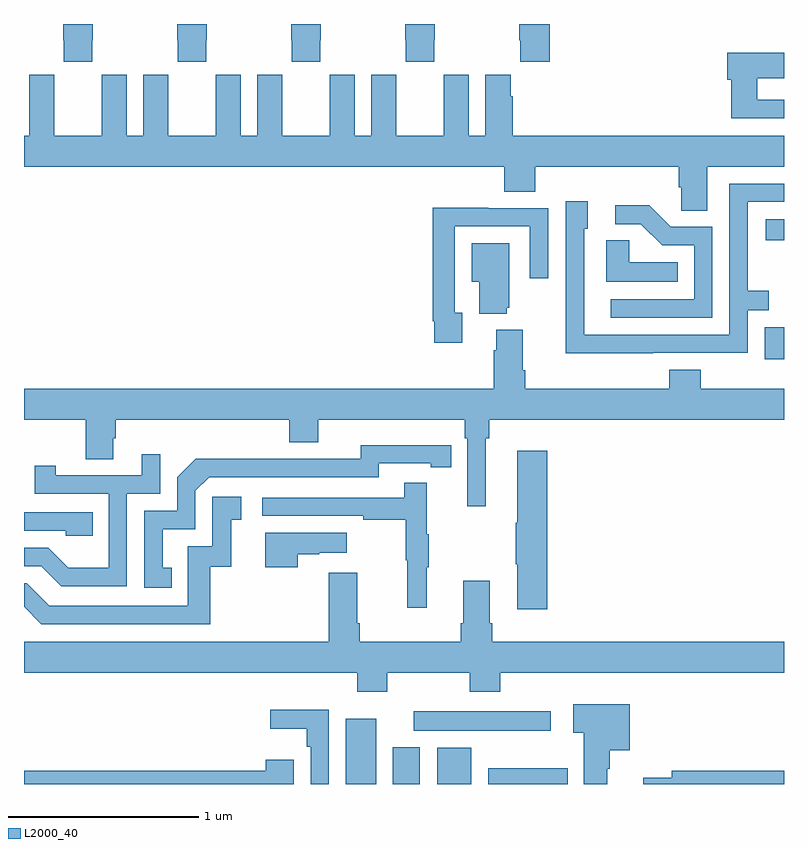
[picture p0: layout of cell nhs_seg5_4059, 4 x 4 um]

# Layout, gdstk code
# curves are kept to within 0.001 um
import gdstk
lib = gdstk.Library(unit=1e-6, precision=1e-09)
def R(c, l, rs):  # rectangles x0, y0, x1, y1
    for r in rs: c.add(gdstk.rectangle(r[:2], r[2:], *l))
def P(c, l, *ps):  # polygons
    for p in ps: c.add(gdstk.Polygon(p, *l))
L2000_40 = (2000, 40)

nhs_seg5_4059 = lib.new_cell('nhs_seg5_4059')
R(nhs_seg5_4059, L2000_40, [(350.693,898.799,350.854,899.143), (350.942,898.799,351.082,898.993), (351.176,898.799,351.355,898.99), (351.443,898.799,351.862,898.883), (351.051,899.078,351.772,899.182), (352.899,901.035,353,901.203), (352.905,901.661,353,901.771)])
P(nhs_seg5_4059, L2000_40, [(351.159,902.713),(351.162,902.713),(351.162,902.799),(351.007,902.799),(351.007,902.713),(351.009,902.713),(351.009,902.601),(351.159,902.601)],
  [(351.767,902.799),(351.607,902.799),(351.607,902.713),(351.613,902.713),(351.613,902.601),(351.767,902.601)],
  [(349.359,902.713),(349.362,902.713),(349.362,902.799),(349.207,902.799),(349.207,902.713),(349.209,902.713),(349.209,902.601),(349.359,902.601)],
  [(349.959,902.713),(349.962,902.713),(349.962,902.799),(349.807,902.799),(349.807,902.713),(349.809,902.713),(349.809,902.601),(349.959,902.601)],
  [(350.407,902.713),(350.409,902.713),(350.409,902.601),(350.559,902.601),(350.559,902.713),(350.562,902.713),(350.562,902.799),(350.407,902.799)],
  [(353,902.4),(352.859,902.4),(352.859,902.513),(353,902.513),(353,902.648),(352.7,902.648),(352.7,902.506),(352.723,902.506),(352.723,902.304),(353,902.304)],
  [(352.597,902.048),(353,902.048),(353,902.212),(351.572,902.212),(351.572,902.42),(351.562,902.42),(351.562,902.533),(351.428,902.533),(351.428,902.212),(351.34,902.212),(351.34,902.533),(351.21,902.533),(351.21,902.42),(351.209,902.42),(351.209,902.212),(350.959,902.212),(350.959,902.42),(350.958,902.42),(350.958,902.533),(350.828,902.533),(350.828,902.212),(350.74,902.212),(350.74,902.533),(350.61,902.533),(350.61,902.42),(350.609,902.42),(350.609,902.212),(350.359,902.212),(350.359,902.42),(350.358,902.42),(350.358,902.533),(350.228,902.533),(350.228,902.212),(350.14,902.212),(350.14,902.533),(350.01,902.533),(350.01,902.42),(350.009,902.42),(350.009,902.212),(349.759,902.212),(349.759,902.42),(349.758,902.42),(349.758,902.533),(349.628,902.533),(349.628,902.212),(349.54,902.212),(349.54,902.533),(349.41,902.533),(349.41,902.42),(349.409,902.42),(349.409,902.212),(349.159,902.212),(349.159,902.42),(349.158,902.42),(349.158,902.533),(349.028,902.533),(349.028,902.212),(349,902.212),(349,902.048),(351.527,902.048),(351.527,901.915),(351.692,901.915),(351.692,902.048),(352.445,902.048),(352.445,901.939),(352.458,901.939),(352.458,901.816),(352.597,901.816)],
  [(352.313,901.068),(352.809,901.068),(352.809,901.293),(352.919,901.293),(352.919,901.394),(352.809,901.394),(352.809,901.863),(353,901.863),(353,901.959),(352.713,901.959),(352.713,901.164),(351.948,901.164),(351.948,901.722),(351.967,901.722),(351.967,901.867),(351.852,901.867),(351.852,901.373),(351.85,901.373),(351.85,901.067),(352.313,901.067)],
  [(352.623,901.731),(352.404,901.731),(352.291,901.844),(352.113,901.844),(352.113,901.746),(352.247,901.746),(352.358,901.635),(352.527,901.635),(352.527,901.35),(352.089,901.35),(352.089,901.254),(352.623,901.254)],
  [(351.307,901.278),(351.267,901.278),(351.267,901.734),(351.663,901.734),(351.663,901.461),(351.759,901.461),(351.759,901.83),(351.443,901.83),(351.443,901.832),(351.151,901.832),(351.151,901.234),(351.159,901.234),(351.159,901.122),(351.307,901.122)],
  [(352.442,901.546),(352.185,901.546),(352.185,901.661),(352.064,901.661),(352.064,901.442),(352.442,901.442)],
  [(351.542,901.305),(351.553,901.305),(351.553,901.645),(351.356,901.645),(351.356,901.442),(351.395,901.442),(351.395,901.274),(351.542,901.274)],
  [(351.43,900.62),(351.449,900.62),(351.449,900.716),(353,900.716),(353,900.88),(352.562,900.88),(352.562,900.979),(352.397,900.979),(352.397,900.88),(351.638,900.88),(351.638,900.976),(351.625,900.976),(351.625,901.189),(351.485,901.189),(351.485,901.082),(351.473,901.082),(351.473,900.88),(349,900.88),(349,900.716),(349.324,900.716),(349.324,900.508),(349.471,900.508),(349.471,900.618),(349.484,900.618),(349.484,900.716),(350.396,900.716),(350.396,900.599),(350.548,900.599),(350.548,900.716),(351.32,900.716),(351.32,900.62),(351.333,900.62),(351.333,900.261),(351.43,900.261)],
  [(349.778,899.937),(349.729,899.937),(349.729,900.141),(349.902,900.141),(349.902,900.342),(349.974,900.414),(350.868,900.414),(350.868,900.486),(351.14,900.486),(351.14,900.466),(351.248,900.466),(351.248,900.582),(350.772,900.583),(350.772,900.51),(350.312,900.51),(350.312,900.512),(349.904,900.512),(349.806,900.414),(349.806,900.237),(349.632,900.237),(349.632,899.832),(349.778,899.832)],
  [(351.755,900.553),(351.596,900.553),(351.596,900.173),(351.589,900.173),(351.589,899.956),(351.596,899.956),(351.596,899.718),(351.755,899.718)],
  [(349.542,900.327),(349.716,900.327),(349.716,900.535),(349.619,900.535),(349.619,900.423),(349.168,900.423),(349.168,900.475),(349.057,900.475),(349.057,900.327),(349.446,900.327),(349.446,899.938),(349.232,899.938),(349.128,900.042),(349,900.042),(349,899.946),(349.091,899.946),(349.196,899.841),(349.542,899.841)],
  [(351.119,899.939),(351.13,899.939),(351.13,900.113),(351.119,900.113),(351.119,900.385),(351.001,900.385),(351.001,900.306),(350.253,900.306),(350.253,900.21),(350.785,900.21),(350.785,900.19),(351.009,900.19),(351.009,899.976),(351.016,899.976),(351.016,899.727),(351.119,899.727)],
  [(349.979,899.943),(350.09,899.943),(350.09,900.189),(350.143,900.189),(350.143,900.31),(349.992,900.31),(349.992,900.051),(349.863,900.051),(349.863,899.736),(349.134,899.736),(349.014,899.856),(349,899.856),(349,899.732),(349.092,899.64),(349.979,899.64)],
  [(349.361,900.228),(349,900.228),(349,900.132),(349.221,900.132),(349.221,900.105),(349.361,900.105)],
  [(350.441,900.007),(350.555,900.007),(350.555,900.017),(350.698,900.017),(350.698,900.121),(350.27,900.121),(350.27,899.94),(350.441,899.94)],
  [(350.913,899.384),(351.346,899.384),(351.346,899.285),(351.506,899.285),(351.506,899.384),(353,899.384),(353,899.548),(351.464,899.548),(351.464,899.644),(351.451,899.644),(351.451,899.869),(351.311,899.869),(351.311,899.644),(351.299,899.644),(351.299,899.548),(350.768,899.548),(350.768,899.644),(350.755,899.644),(350.755,899.911),(350.603,899.911),(350.603,899.548),(349,899.548),(349,899.384),(350.753,899.384),(350.753,899.285),(350.913,899.285)],
  [(352.069,898.88),(352.082,898.88),(352.082,898.976),(352.189,898.976),(352.189,899.218),(351.891,899.218),(351.891,899.069),(351.947,899.069),(351.947,898.799),(352.069,898.799)],
  [(350.604,899.189),(350.295,899.189),(350.295,899.09),(350.488,899.09),(350.488,898.994),(350.508,898.994),(350.508,898.799),(350.604,898.799)],
  [(350.419,898.927),(350.273,898.927),(350.273,898.868),(349,898.868),(349,898.799),(350.419,898.799)],
  [(353,898.868),(352.409,898.868),(352.409,898.832),(352.26,898.832),(352.26,898.799),(353,898.799)])

lib.write_gds('nhs_seg5_4059.gds')
